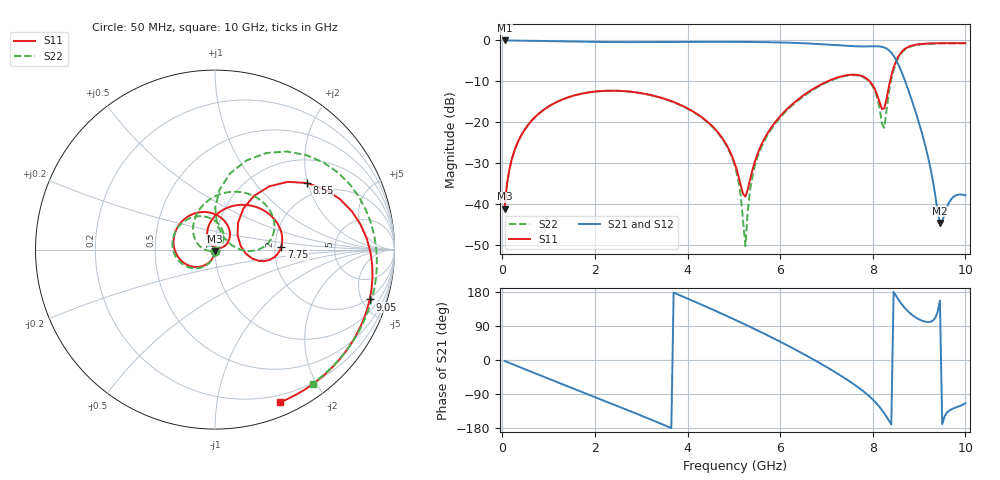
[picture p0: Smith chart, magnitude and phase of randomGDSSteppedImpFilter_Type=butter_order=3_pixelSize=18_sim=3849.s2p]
! freq	dB(S11)	phase(S11)	dB(S12)	phase(S12)
!  dB(S21)	phase(S21)	dB(S22)	phase(S22)
!S-par simulation data
#  GHz  S  DB  R 50
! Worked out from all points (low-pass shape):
!   200 points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, 50 MHz to 10 GHz, reference 50 ohm
!   highest |S21| = -0.01 dB at 50 MHz (marker M1); lowest = -44.6 dB at 9.45 GHz (marker M2)
!   |S21| within 3 dB of the highest: start of sweep to 8.401 GHz
!   lowest |S11| = -41.1 dB at 50 MHz (marker M3), VSWR 1.02, Z = 50 - j0.876 ohm
!   |S11| at or under -10 dB: start of sweep to 7.023 GHz; 7.933 GHz to 8.373 GHz (440.4 MHz wide, 5.4 % of centre)
!   |S22| runs from -50.3 to -0.7 dB; largest |S21 - S12| = 0
!   S11 on the Smith chart (normalised r, x): 50 MHz: 1.00, -0.02; 7.75 GHz: 2.17, +0.08; 8.55 GHz: 1.60, +1.97; 9.05 GHz: 1.87, -5.78; 10 GHz: 0.13, -1.50
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0.05  -41.14 -91.7  -0.01 -2.5  -0.01 -2.5  -41.13 -91.3
0.2  -29.26 -100.5  -0.02 -10.0  -0.02 -10.0  -29.26 -99.6
0.5  -21.53 -116.5  -0.06 -24.9  -0.06 -24.9  -21.53 -114.3
1.75  -12.93 179.2  -0.33 -85.8  -0.33 -85.8  -12.94 -172.6
2.55  -12.33 138.1  -0.41 -124.5  -0.41 -124.5  -12.34 151.1
3.4  -13.92 93.0  -0.39 -166.8  -0.39 -166.8  -13.95 112.0
4.5  -20.60 33.7  -0.34 135.4  -0.34 135.4  -20.71 58.3
5.05  -31.16 19.3  -0.35 104.8  -0.35 104.8  -31.89 25.9
5.25  -38.17 80.1  -0.37 93.3  -0.37 93.3  -50.29 -86.0
5.35  -34.01 117.8  -0.38 87.5  -0.38 87.5  -36.62 -155.9
5.6  -25.38 127.4  -0.41 72.8  -0.41 72.8  -25.95 -177.1
6.7  -11.95 70.7  -0.80 2.7  -0.80 2.7  -12.16 108.6
7.2  -9.20 39.5  -1.16 -33.0  -1.16 -33.0  -9.34 71.0
7.75  -8.65 2.4  -1.46 -78.0  -1.46 -78.0  -8.76 25.4
8.05  -12.03 -14.5  -1.43 -110.6  -1.43 -110.6  -12.49 -0.5
8.25  -16.59 31.7  -1.73 -141.1  -1.73 -141.1  -21.35 58.2
8.35  -11.18 55.3  -2.41 -160.0  -2.41 -160.0  -12.61 89.7
8.55  -3.98 36.0  -5.83 160.3  -5.83 160.3  -4.31 62.1
8.75  -1.68 9.6  -11.55 129.7  -11.55 129.7  -1.84 32.0
9.05  -0.86 -17.8  -22.20 104.3  -22.20 104.3  -0.94 1.1
9.45  -0.68 -42.3  -44.59 157.0  -44.59 157.0  -0.71 -26.4
10  -0.68 -67.0  -37.87 -114.2  -37.87 -114.2  -0.70 -53.9
